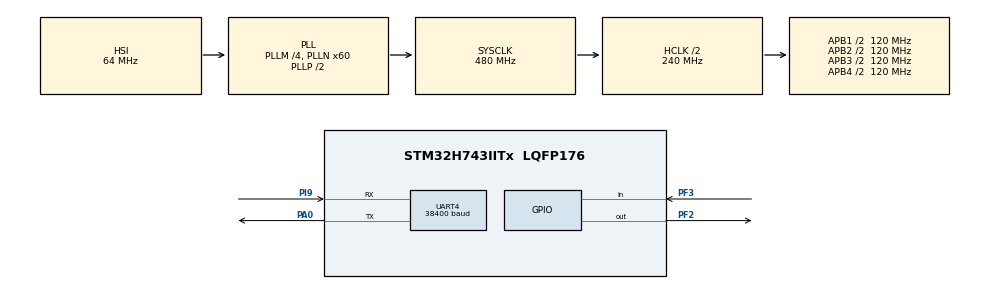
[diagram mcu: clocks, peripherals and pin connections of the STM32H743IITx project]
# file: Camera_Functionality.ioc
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JPEG.JPEG_RGB_FORMAT=JPEG_RGB888
Mcu.Family=STM32H7
Mcu.Name=STM32H743IITx
Mcu.Package=LQFP176
NVIC.PriorityGroup=NVIC_PRIORITYGROUP_4
NVIC.UART4_IRQn=true\:0\:0\:false\:false\:true\:true\:true
PA0.GPIO_Speed=GPIO_SPEED_FREQ_HIGH
PA0.Mode=Asynchronous
PA0.Signal=UART4_TX
PF2.GPIO_Speed=GPIO_SPEED_FREQ_HIGH
PF2.Signal=GPIO_Output
PF3.Signal=GPIO_Input
PI9.GPIO_Speed=GPIO_SPEED_FREQ_HIGH
PI9.Mode=Asynchronous
PI9.Signal=UART4_RX
ProjectManager.HeapSize=0x2000
ProjectManager.StackSize=0x4000
ProjectManager.TargetToolchain=STM32CubeIDE
RCC.ADCFreq_Value=1008000000
RCC.APB1Freq_Value=120000000
RCC.APB2Freq_Value=120000000
RCC.APB3Freq_Value=120000000
RCC.APB4Freq_Value=120000000
RCC.CortexFreq_Value=480000000
RCC.D1PPRE=RCC_APB3_DIV2
RCC.D2PPRE1=RCC_APB1_DIV2
RCC.D2PPRE2=RCC_APB2_DIV2
RCC.D3PPRE=RCC_APB4_DIV2
RCC.DIVM1=4
RCC.DIVM2=4
RCC.DIVM3=12
RCC.DIVN1=60
RCC.DIVN2=126
RCC.DIVQ2=8
RCC.HCLKFreq_Value=240000000
RCC.HPRE=RCC_HCLK_DIV2
RCC.PLL2FRACN=0
RCC.PLL3FRACN=0
RCC.PLLFRACN=0
RCC.SYSCLKFreq_VALUE=480000000
RCC.SYSCLKSource=RCC_SYSCLKSOURCE_PLLCLK
RCC.USBFreq_Value=480000000
UART4.BaudRate=38400
UART4.ClockPrescaler=PRESCALER_DIV1
UART4.FIFOMode=FIFOMODE_ENABLE
UART4.OneBitSampling=UART_ONE_BIT_SAMPLE_DISABLE
UART4.OverSampling=UART_OVERSAMPLING_16
UART4.RXFIFOThreshold=RXFIFO_THRESHOLD_FULL
VP_JPEG_VS_JPEG.Mode=JPEG_Activate
board=custom

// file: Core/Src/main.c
/* USER CODE BEGIN Header */
/**
  ******************************************************************************
  * @file           : main.c
  * @brief          : Main program body
  ******************************************************************************
  * @attention
  *
  * <h2><center>&copy; Copyright (c) 2020 STMicroelectronics.
  * All rights reserved.</center></h2>
  *
  * This software component is licensed by ST under Ultimate Liberty license
  * SLA0044, the "License"; You may not use this file except in compliance with
  * the License. You may obtain a copy of the License at:
  *                             www.st.com/SLA0044
  *
  ******************************************************************************
  */
/* USER CODE END Header */

#include "main.h"

JPEG_HandleTypeDef hjpeg;

UART_HandleTypeDef huart4;

/* USER CODE BEGIN PV */
uint8_t junk[255];

uint8_t img_buf[67200];
/* USER CODE END PV */

void SystemClock_Config(void);
static void MX_GPIO_Init(void);
static void MX_UART4_Init(void);
static void MX_JPEG_Init(void);

/* USER CODE BEGIN 0 */

/*
 * -----------------------------CAMERA COMMAND AND ACK HEX ARRAYS---------------------------
 *
 * Below are commands commonly used for interfacing with the camera, globally defined
 * only because of their ubiquity, all commands begin with 0x56 0x00 and all ACKs or returns
 * begin with 0x76 0x00, behavior after is somewhat variable but often the first five characters
 * are relatively predictable between the two going something like...
 * 		COMMAND:	0x56 0x0 0xBB 0x1 0x0
 * 		ACK:		0x76 0x0 0xBB 0x0 0x0
 *
 * 	For some commands or acknowledgements, the listed values will NOT be what you input/receive because
 * 	they depend on values like the image length, addresses, etc. So make sure that you change those areas
 * 	before using the arrays based off of what you need!
 */

// use for camera set-up
uint8_t CAM_RESET[]							=	{0x56, 0x0, 0x26, 0x0, 0x0};
uint8_t CAM_RESET_ACK[]						=	{0x76, 0x0, 0x26, 0x0, 0x0};

// use for camera resolution settings
uint8_t CAM_RES_640_480[]					=	{0x56, 0x0, 0x31, 0x05, 0x04, 0x01, 0x0, 0x19, 0x00};
uint8_t CAM_RES_320_240[]					=	{0x56, 0x0, 0x31, 0x05, 0x04, 0x01, 0x0, 0x19, 0x11};
uint8_t CAM_RES_160_120[]					=	{0x56, 0x0, 0x31, 0x05, 0x04, 0x01, 0x0, 0x19, 0x22};
uint8_t CAM_RES_ACK[]						=	{0x76, 0x0, 0x31, 0x0, 0x0};

// use to compress the image further than normal, typical value is at 0x36, can be pushed up to 0xFF
// acknowledgement is the same as resolution ack
uint8_t CAM_COMPRESS[]						=	{0x56, 0x0, 0x31, 0x05, 0x01, 0x01, 0x12, 0x04, 0x36};
uint8_t CAM_COMPRESS_ACK[] 					=	{0x76, 0x0, 0x31, 0x0, 0x0};

// use to change camera baud rate, note that you must init your UART again to properly communicate
// default baud rate of camera is 38400 baud
uint8_t CAM_BAUD_9600[]						=	{0x56, 0x0, 0x24, 0x03, 0x01, 0xAE, 0xC8};
uint8_t CAM_BAUD_19200[]					=	{0x56, 0x0, 0x24, 0x03, 0x01, 0x56, 0xE4};
uint8_t CAM_BAUD_38400[]					= 	{0x56, 0x0, 0x24, 0x03, 0x01, 0x2A, 0xF2};
uint8_t CAM_BAUD_57600[]					=	{0x56, 0x0, 0x24, 0x03, 0x01, 0x1C, 0x1C};
uint8_t CAM_BAUD_115200[]					=	{0x56, 0x0, 0x24, 0x03, 0x01, 0x0D, 0xA6};
uint8_t CAM_BAUD_ACK[]						=	{0x76, 0x0, 0x24, 0x0, 0x0};

// use for camera to take a shot
uint8_t CAM_CAPTURE[]						=	{0x56, 0x0, 0x36, 0x1, 0x0};
uint8_t CAM_CAPTURE_ACK[]					= 	{0x76, 0x0, 0x36, 0x0, 0x0};

// use for requesting image length, NOTE: in ACK the final two bytes are not 0xFF but
// are instead the high and low bytes of the length
uint8_t CAM_IMG_LENGTH[]					=	{0x56, 0x0, 0x34, 0x1, 0x0};
uint8_t CAM_IMG_LENGTH_ACK[]				=	{0x76, 0x0, 0x34, 0x0, 0x4, 0x0, 0x0, 0xFF, 0xFF};

/*
 * use these for actually getting the image data, heavy variability here
 *
 * GENERAL JPG NOTES:	all jpgs should start with 0xFF 0xD8 0xFF (unsure still on last 0xFF) and end with 0xFF 0xD9
 *
 * NOTES FOR COMMAND:	the 0xFF 0xFF sequence is actually a start address for the image data, needs to be set to a frame pointer that shifts by the
 * 						image's length
 *
 * 						the 0xEE 0xEE is actually meant to be image length, pulled from the results of the previous set of commands/acks
 *
 * 						the 0x0D can potentially be 0x0A instead, Adafruit uses the latter while another reference sheet uses the former
 *
 * 						finally, the end 0x0 0x0A is actually the "camera delay," it may be variable based off of model but I am unsure and have no other
 * 						models to test on
 *
 *
 * NOTES FOR ACKS: 		listed in two parts here, the first part is the beginning of the image data and the last part is the end and cleanup
 * 						keep in mind the jpg rules! first part ends with 0xFF 0xD8 and second part starts with 0xFF 0xD9, but these are
 * 						actually parts of the jpg and should also be written to something!
 */
uint8_t CAM_READ_IMG[]						=	{0x56, 0x0, 0x32, 0x0C, 0x0, 0x0A, 0x0, 0x0, 0xFF, 0xFF, 0x0, 0x0, 0xEE, 0xEE, 0x0, 0x0A};
uint8_t CAM_READ_IMG_ACK_1[]				=	{0x76, 0x0, 0x32, 0x0, 0x0};
uint8_t CAM_READ_IMG_ACK_2[]				=	{0x76, 0x0, 0x32, 0x0, 0x0};
/* USER CODE END 0 */

int main(void)
{

  /* MCU Configuration--------------------------------------------------------*/

  /* Reset of all peripherals, Initializes the Flash interface and the Systick. */
  HAL_Init();

  /* USER CODE BEGIN Init */

  //Camera_Setup(CAM_RESET);
  /* USER CODE END Init */

  /* Configure the system clock */
  SystemClock_Config();

  /* Initialize all configured peripherals */
  MX_GPIO_Init();
  MX_UART4_Init();
  MX_JPEG_Init();
  /* USER CODE BEGIN 2 */
  printf("%d\n", sizeof(CAM_RESET));
  HAL_GPIO_WritePin(GPIOF, GPIO_PIN_2, GPIO_PIN_SET);

 /* HAL_Delay(100);

  uint32_t tick1 = HAL_GetTick();
  uint32_t count = 0;
  uint8_t* array = (uint8_t*) malloc(sizeof(uint8_t)*160*120);
  uint32_t tick2 = HAL_GetTick();
  printf("Malloc run-time... %lu\n", tick2-tick1);

  uint32_t tick3 = HAL_GetTick();
  // quick and dirty timing test for Shanti
  for (int i = 0; i < 120; i++)
	  for (int j = 0; j < 160; j++) {
		  array[j+i*j] = count/20;
		  count++;
	  }
  uint32_t tick4 = HAL_GetTick();
  printf("Loop run-time... %lu\n", tick4-tick3);

  free(array);
  get_TOF_Data(array);

  uint32_t tick5 = HAL_GetTick();
  printf("Altogether run-time, including free... %lu\n", tick5-tick1);

  */

  img_buf[0] = 0;
  uint8_t test = 0b10101010;
  uint8_t test1 = 200;
  uint8_t rec1[26] = {0, 0, 0, 0, 0, 0, 0, 0, 0, 0, 0, 0, 0, 0, 0, 0, 0, 0, 0, 0, 0, 0, 0, 0, 0, 0};
  uint8_t* rec = rec1;

  //HAL_UART_Receive_IT(&huart4, rec, 5);
  //HAL_UART_Transmit(&huart4, &test, 1, 1000);
  /*send_UART(&huart4, &test, rec, 1, 26);

  for (int i = 0; i < 26; i++)
	  printf("%u\n", rec1[i]);

  send_UART(&huart4, &test1, rec, 1, 26);
  //HAL_UART_Receive_IT(&huart4, rec, 5);
  //HAL_UART_Transmit(&huart4, &test, 1, 1000);

  for (int i = 0; i < 26; i++)
	  printf("%u\n", rec[i]);
  //HAL_UART_Transmit(&huart5, &test, 1, 1000);
*/

  // initialize camera before anything else with desired resolution, amount of compression (0x0 to 0xFF), and baudrate
  Camera_Initialize(1, 0xFF, 115200);
  HAL_Delay(10);

  uint16_t frameptr = 0;

  HAL_StatusTypeDef result = 255;

  /* USER CODE END 2 */

  /* Infinite loop */
  /* USER CODE BEGIN WHILE */
  while (1)
  {
  	  printf("Beginning while loop.\n");
  	  /*
	   * For now, we assume that all communication works out.
	   * There is no ACK checks for now, simple one would be to
	   * check if the first element is 0x76 as all ACKs involve
	   * that.
	   */

	  // get TOF distance values, 7 for the 7 sensors on the board
	  uint8_t dist_vals[7];
	  get_TOF_Data(dist_vals);

	  /*
	   * Begin process of extracting image, then processing image.
	   *
	   * Many of the below functions have what should be final code, except
	   * for the image processing functions as those are still waiting for
	   * OpenMV adapted collateral.
	   *
	   * Some ACK checks could be added to verify information, but otherwise the
	   * flow of the below code should be mostly finalized.
	   */

	  HAL_Delay(10);
	  printf("Taking snapshot...\n");
	  uint8_t snapshot_ack[5];
	  uint8_t *snapshot_ack1 = snapshot_ack;
	  Camera_Snapshot(snapshot_ack1, sizeof(snapshot_ack));

	  if (snapshot_ack[0] == 0x76)
		  printf("Ack for snapshot received.\n");
	  else
		  printf("No ack received for snapshot.\n");

	  printf("Getting image length...\n");
	  uint8_t length_ack[9];
	  Camera_Get_IMG_Length(length_ack, sizeof(length_ack));

	  if (length_ack[0] == 0x76)
		  printf("Ack for image length received.\n");
	  else
		  printf("No ack received for image length.\n");

	  // indices 7 and 8 of the length_ack should have actual values
	  uint16_t img_length = (((uint16_t) length_ack[7]) << 8) + (uint16_t) length_ack[8];
	  printf("Found image length: %lu\n", img_length);

	  //image buffer
	  uint8_t img_buf_and_ack[10+img_length];

	  uint32_t ticktransfer1 = HAL_GetTick();

	  printf("Getting image...\n");
	  Camera_Get_IMG(img_buf_and_ack, (10+img_length), length_ack[7], length_ack[8], (uint8_t) (frameptr >> 8), (uint8_t) frameptr);

	  uint32_t ticktransfer2 = HAL_GetTick();

	  printf("Image transfer time: %lu\n", ticktransfer2 - ticktransfer1);

	  // extremely important, do not forget to increment your frameptr by the number of bytes you just received
	  frameptr += img_length;
	  uint8_t* jpeg_img_buf = img_buf_and_ack;
	  jpeg_img_buf += 5;

	  result = HAL_JPEG_Decode(&hjpeg, jpeg_img_buf, (uint32_t) img_length, img_buf, 67200, 3000);

	  uint8_t* buff_check = img_buf;
	  buff_check++;
	  buff_check++;
	  buff_check++;
	  buff_check++;
	  buff_check++;

	  uint32_t tickj = HAL_GetTick();

	  if (result == HAL_OK) {
		  printf("JPEG conversion finished successfully.\n");

		  for (uint64_t i = 0; i < 140; i++) {
			  printf("{%d, %d, %d} ", img_buf[31350+3*i], img_buf[31350+3*i+1], img_buf[31350+3*i+2]);
		  }
		  printf("\n");
	  }
	  else
		  printf("JPEG conversion failed.\n");

	  uint32_t tickj2 = HAL_GetTick();
	  printf("JPEG time elapsed: %lu\n", tickj2-tickj);

	  // create image object for easy access to parameters, copy over jpg img data
	  /*image_t* cam_img = (image_t*) malloc(sizeof(image_t));
	  cam_img->w = 320;
	  cam_img->h = 240;
	  cam_img->bpp = 3;
	  cam_img->pixels = (uint8_t*) malloc(img_length*sizeof(uint8_t));
	  for (int i = 0; i < img_length; i++)
		  cam_img->pixels[i] = img_buf_and_ack[5+i];*/

	  printf("\n\nLOOP COMPLETED\n\n");
	  //printf("End of while loop reached, deleting and then entering delay before starting again...");

	  /*for (int i = 0; i < 2; i++) {
		  HAL_Delay(1000);
		  printf(".");
	  }
	  printf("\n");*/

    /* USER CODE END WHILE */

  }
}

void SystemClock_Config(void)
{
  RCC_OscInitTypeDef RCC_OscInitStruct = {0};
  RCC_ClkInitTypeDef RCC_ClkInitStruct = {0};
  RCC_PeriphCLKInitTypeDef PeriphClkInitStruct = {0};

  /** Supply configuration update enable
  */
  HAL_PWREx_ConfigSupply(PWR_LDO_SUPPLY);
  /** Configure the main internal regulator output voltage
  */
  __HAL_PWR_VOLTAGESCALING_CONFIG(PWR_REGULATOR_VOLTAGE_SCALE0);

  while(!__HAL_PWR_GET_FLAG(PWR_FLAG_VOSRDY)) {}
  /** Initializes the CPU, AHB and APB busses clocks
  */
  RCC_OscInitStruct.OscillatorType = RCC_OSCILLATORTYPE_HSI;
  RCC_OscInitStruct.HSIState = RCC_HSI_DIV1;
  RCC_OscInitStruct.HSICalibrationValue = RCC_HSICALIBRATION_DEFAULT;
  RCC_OscInitStruct.PLL.PLLState = RCC_PLL_ON;
  RCC_OscInitStruct.PLL.PLLSource = RCC_PLLSOURCE_HSI;
  RCC_OscInitStruct.PLL.PLLM = 4;
  RCC_OscInitStruct.PLL.PLLN = 60;
  RCC_OscInitStruct.PLL.PLLP = 2;
  RCC_OscInitStruct.PLL.PLLQ = 2;
  RCC_OscInitStruct.PLL.PLLR = 2;
  RCC_OscInitStruct.PLL.PLLRGE = RCC_PLL1VCIRANGE_3;
  RCC_OscInitStruct.PLL.PLLVCOSEL = RCC_PLL1VCOWIDE;
  RCC_OscInitStruct.PLL.PLLFRACN = 0;
  if (HAL_RCC_OscConfig(&RCC_OscInitStruct) != HAL_OK)
  {
    Error_Handler();
  }
  /** Initializes the CPU, AHB and APB busses clocks
  */
  RCC_ClkInitStruct.ClockType = RCC_CLOCKTYPE_HCLK|RCC_CLOCKTYPE_SYSCLK
                              |RCC_CLOCKTYPE_PCLK1|RCC_CLOCKTYPE_PCLK2
                              |RCC_CLOCKTYPE_D3PCLK1|RCC_CLOCKTYPE_D1PCLK1;
  RCC_ClkInitStruct.SYSCLKSource = RCC_SYSCLKSOURCE_PLLCLK;
  RCC_ClkInitStruct.SYSCLKDivider = RCC_SYSCLK_DIV1;
  RCC_ClkInitStruct.AHBCLKDivider = RCC_HCLK_DIV2;
  RCC_ClkInitStruct.APB3CLKDivider = RCC_APB3_DIV2;
  RCC_ClkInitStruct.APB1CLKDivider = RCC_APB1_DIV2;
  RCC_ClkInitStruct.APB2CLKDivider = RCC_APB2_DIV2;
  RCC_ClkInitStruct.APB4CLKDivider = RCC_APB4_DIV2;

  if (HAL_RCC_ClockConfig(&RCC_ClkInitStruct, FLASH_LATENCY_4) != HAL_OK)
  {
    Error_Handler();
  }
  PeriphClkInitStruct.PeriphClockSelection = RCC_PERIPHCLK_UART4;
  PeriphClkInitStruct.Usart234578ClockSelection = RCC_USART234578CLKSOURCE_D2PCLK1;
  if (HAL_RCCEx_PeriphCLKConfig(&PeriphClkInitStruct) != HAL_OK)
  {
    Error_Handler();
  }
}

static void MX_JPEG_Init(void)
{

  hjpeg.Instance = JPEG;
  if (HAL_JPEG_Init(&hjpeg) != HAL_OK)
  {
    Error_Handler();
  }

}

static void MX_UART4_Init(void)
{

  huart4.Instance = UART4;
  huart4.Init.BaudRate = 38400;
  huart4.Init.WordLength = UART_WORDLENGTH_8B;
  huart4.Init.StopBits = UART_STOPBITS_1;
  huart4.Init.Parity = UART_PARITY_NONE;
  huart4.Init.Mode = UART_MODE_TX_RX;
  huart4.Init.HwFlowCtl = UART_HWCONTROL_NONE;
  huart4.Init.OverSampling = UART_OVERSAMPLING_16;
  huart4.Init.OneBitSampling = UART_ONE_BIT_SAMPLE_DISABLE;
  huart4.Init.ClockPrescaler = UART_PRESCALER_DIV1;
  huart4.AdvancedInit.AdvFeatureInit = UART_ADVFEATURE_NO_INIT;
  if (HAL_UART_Init(&huart4) != HAL_OK)
  {
    Error_Handler();
  }
  if (HAL_UARTEx_SetTxFifoThreshold(&huart4, UART_TXFIFO_THRESHOLD_1_8) != HAL_OK)
  {
    Error_Handler();
  }
  if (HAL_UARTEx_SetRxFifoThreshold(&huart4, UART_RXFIFO_THRESHOLD_8_8) != HAL_OK)
  {
    Error_Handler();
  }
  if (HAL_UARTEx_EnableFifoMode(&huart4) != HAL_OK)
  {
    Error_Handler();
  }

}

static void MX_GPIO_Init(void)
{
  GPIO_InitTypeDef GPIO_InitStruct = {0};

  /* GPIO Ports Clock Enable */
  __HAL_RCC_GPIOI_CLK_ENABLE();
  __HAL_RCC_GPIOF_CLK_ENABLE();
  __HAL_RCC_GPIOA_CLK_ENABLE();

  /*Configure GPIO pin Output Level */
  HAL_GPIO_WritePin(GPIOF, GPIO_PIN_2, GPIO_PIN_RESET);

  /*Configure GPIO pin : PF2 */
  GPIO_InitStruct.Pin = GPIO_PIN_2;
  GPIO_InitStruct.Mode = GPIO_MODE_OUTPUT_PP;
  GPIO_InitStruct.Pull = GPIO_NOPULL;
  GPIO_InitStruct.Speed = GPIO_SPEED_FREQ_HIGH;
  HAL_GPIO_Init(GPIOF, &GPIO_InitStruct);

  /*Configure GPIO pin : PF3 */
  GPIO_InitStruct.Pin = GPIO_PIN_3;
  GPIO_InitStruct.Mode = GPIO_MODE_INPUT;
  GPIO_InitStruct.Pull = GPIO_NOPULL;
  HAL_GPIO_Init(GPIOF, &GPIO_InitStruct);

}

/* USER CODE BEGIN 4 */

// required set-up process for the camera to function, according to documentation
void Camera_Reset(uint8_t* rec, uint8_t len_rec)
{
	printf("Size of receiving buffer: %d\n", len_rec);
	HAL_Delay(2500);	//2500 ms delay
	send_UART(&huart4, CAM_RESET, rec, sizeof(CAM_RESET), len_rec);

	for (int i = 0; i < len_rec; i++) {
		printf("%d ", rec[i]);
	}
	printf("\n");

	HAL_Delay(1000);
}

// abstracted function for general USART exchange, note that size of rec must be known beforehand for this to work
bool send_UART(UART_HandleTypeDef* huart, uint8_t* comm, uint8_t* rec, uint8_t len_comm, uint16_t len_rec)
{
	HAL_StatusTypeDef res = 0;
	res = HAL_UART_Receive(&huart4, junk, 255, 2);
	/*for (int i = 0; i < len_rec; i++)
			printf("%d ", rec[i]);
	printf("\n");*/
	rec[0] = 255;
	rec[1] = 10;
	rec[2] = 30;
	rec[3] = 40;
	rec[4] = 50;

	uint32_t tick3 = HAL_GetTick();

	// fastest tx operation?
	huart->TxXferCount = len_comm;
	huart->TxXferSize = len_comm;
	while (huart->TxXferCount > 0U)
	    {
	      //ensure that Tx operations are finished before we continue
	      if (UART_WaitOnFlagUntilTimeout(huart, UART_FLAG_TXE, RESET, tick3, 1000) != HAL_OK)
	      {
	        return false;
	      }

	      huart->Instance->TDR = (uint8_t)(*comm & 0xFFU); // what is the purpose of the & operation if the mask is just 0xFF
	      comm++;
	      huart->TxXferCount--;
	    }

	// fastest rx operation, could make slightly faster on flag check
	huart->RxXferCount = len_rec;
	huart->RxXferSize  = len_rec;
	uint8_t flag = 0;
	uint8_t* pData = rec;
	uint32_t tickstart = HAL_GetTick();
	UART_MASK_COMPUTATION(huart);
	while (huart->RxXferCount > 0U)
	    {
	       if (UART_WaitOnFlagUntilTimeout(huart, UART_FLAG_RXNE, RESET, tickstart, 5000) != HAL_OK)
	       {
	    	 printf("\n\nBROKE LOOP ON RX, TIMEOUT AT %d ITERATION\n\n", len_rec - huart->RxXferCount);
	         return HAL_TIMEOUT;
	       }

	       /*while((__HAL_UART_GET_FLAG(huart, UART_FLAG_RXNE) ? SET : RESET) == RESET) {
	    	   uint32_t tick_curr = HAL_GetTick();
	    	   if (tick_curr - tick3 > 1000) {
	    		   printf("Failed at %lu iteration.\n", len_rec-huart->RxXferCount);
	    		   flag = 1;
	    		   break;
	    	   }
	       } // ? operator is a conditional ternary, may just be fast

	       if (flag == 1) {
	    	   break;
	       }*/

	       *pData = (uint8_t)(huart->Instance->RDR & (uint8_t) huart->Mask);	// note that UART mask here is variable in HAL drivers, often 255 so that is default
	       pData++;

	       huart->RxXferCount--;
	       //__HAL_UART_CLEAR_FLAG(&huart4, UART_FLAG_RXNE);
	    }

	res = HAL_UART_Receive(&huart4, junk, 255, 2);
}

//orders camera to take snapshot
void Camera_Snapshot(uint8_t* rec, uint8_t len_rec) {
	send_UART(&huart4, CAM_CAPTURE, rec, sizeof(CAM_CAPTURE), len_rec);

	for (int i = 0; i < len_rec; i++)
		printf("%d ", rec[i]);
	printf("\n");

	HAL_Delay(1);
}

//returns 2-value array of characters, first is high part of 16-bit length, second is low part
void Camera_Get_IMG_Length(uint8_t* rec, uint8_t len_rec) {
	send_UART(&huart4, CAM_IMG_LENGTH, rec, sizeof(CAM_IMG_LENGTH), len_rec);

	for (int i = 0; i < len_rec; i++)
			printf("%d ", rec[i]);
		printf("\n");
}

//records the image into a statically allocated array of the given
void Camera_Get_IMG(uint8_t* rec, uint16_t len_rec, uint8_t lengthH, uint8_t lengthL, uint8_t memH, uint8_t memL) {

	CAM_READ_IMG[12] = lengthH;
	CAM_READ_IMG[13] = lengthL;

	CAM_READ_IMG[8] = memH;
	CAM_READ_IMG[9] = memL;

	send_UART(&huart4, CAM_READ_IMG, rec, sizeof(CAM_READ_IMG), len_rec);

	/*printf("IMAGE:\n\n");
	for (int i = 0; i < len_rec; i++)
			printf("%d ", rec[i]);
		printf("\n");*/

}

//sets the resolution of the image, full resolution likely not needed for crude processing
//0x00 is default for 640x480, to get 320x240 must manually send command, replace 0x00 with 0x11
// resolution = 6 sends 640x480, resolution = 3 sends 320x240, resolution = 1 sends 160x120
void Camera_Set_Res(uint8_t* rec, uint8_t len_rec, uint8_t res) {

	// for 640x480
	if (res == 6)
		send_UART(&huart4, CAM_RES_640_480, rec, sizeof(CAM_RES_640_480), len_rec);

	// for 320x240
	else if (res == 3)
		send_UART(&huart4, CAM_RES_320_240, rec, sizeof(CAM_RES_320_240), len_rec);

	// for 160x120
	else if (res == 1)
		send_UART(&huart4, CAM_RES_160_120, rec, sizeof(CAM_RES_160_120), len_rec);

	for (int i = 0; i < len_rec; i++)
			printf("%d ", rec[i]);
		printf("\n");
}

// function to ease customization of compression, higher compression is vastly preferable
void Camera_Set_Compress(uint8_t* rec, uint8_t len_rec, uint8_t comp) {
	CAM_COMPRESS[8] = comp;

	send_UART(&huart4, CAM_COMPRESS, rec, sizeof(CAM_COMPRESS), len_rec);

	for (int i = 0; i < len_rec; i++)
		printf("%d ", rec[i]);
	printf("\n");
}

// function to set the baud rate, pass the baud rate directly for check
void Camera_Set_Baud(uint8_t* rec, uint8_t len_rec, uint32_t baud) {

	if (baud == 9600) {
		send_UART(&huart4, CAM_BAUD_9600, rec, sizeof(CAM_BAUD_9600), len_rec);
		HAL_UART_DeInit(&huart4);
		UART_Init_Baud(&huart4, UART4, 9600);
	}

	else if (baud == 19200) {
		send_UART(&huart4, CAM_BAUD_19200, rec, sizeof(CAM_BAUD_19200), len_rec);
		HAL_UART_DeInit(&huart4);
		UART_Init_Baud(&huart4, UART4, 19200);
	}

	else if (baud == 38400) {
		send_UART(&huart4, CAM_BAUD_38400, rec, sizeof(CAM_BAUD_38400), len_rec);
		HAL_UART_DeInit(&huart4);
		UART_Init_Baud(&huart4, UART4, 38400);
	}

	else if (baud == 57600) {
		send_UART(&huart4, CAM_BAUD_57600, rec, sizeof(CAM_BAUD_57600), len_rec);
		HAL_UART_DeInit(&huart4);
		UART_Init_Baud(&huart4, UART4, 57600);
	}

	else if (baud == 115200) {
		send_UART(&huart4, CAM_BAUD_115200, rec, sizeof(CAM_BAUD_115200), len_rec);
		HAL_UART_DeInit(&huart4);
		UART_Init_Baud(&huart4, UART4, 115200);
	}

	for (int i = 0; i < len_rec; i++)
		printf("%d ", rec[i]);
	printf("\n");
}

void Camera_Initialize(uint8_t resolution, uint8_t compression, uint32_t baud) {

	/*
	   * Begin VC0706 CMOS Camera setup
	   *
	   *  - Start with delay of 2.5s before reset, reset, then delay of 1s after to allow reset to finish
	   *  - Set image resolution, preferably low so that data transfer and image analysis is fast
	   *  - Set compressibility, preferably fast so that data transfer is quick but may cost in terms of accuracy?
	   *  - Baudrate is also variable, we could set it to 115200 baud for faster data transfer but if the camera resets, it will go back to 38400 baud
	   *
	   *  All of the above steps should really only be handled one time, at system initialization. If we are disconnected from power, however,
	   *  the camera is supposed to be reset in its normal flow. This is likely not be necessary, more testing is needed.
	   */
	  uint8_t reset_ack[5];
	  reset_ack[0] = 0;
	  uint8_t* reset_ack1 = reset_ack;

	  Camera_Reset(reset_ack1, sizeof(reset_ack));

	  if (reset_ack[0] == 0x76)
		  printf("Ack for reset received.\n");
	  else
	  	  printf("No ack received for reset.\n");

	  uint8_t resol_ack[5];
	  uint8_t* resol_ack1 = resol_ack;
	  Camera_Set_Res(resol_ack1, sizeof(resol_ack), resolution);

	  if (resol_ack[0] == 0x76)
		  printf("Ack for resolution received.\n");
	  else
		  printf("No ack received for resolution.\n");

	  uint8_t compress_ack[5];
	  uint8_t* compress_ack1 = compress_ack;
	  Camera_Set_Compress(compress_ack1, sizeof(compress_ack), compression);

	  if (compress_ack[0] == 0x76)
		  printf("Ack for compression received.\n");
	  else
		  printf("No ack received for resolution.\n");

	  uint8_t baud_ack[5];
	  uint8_t* baud_ack1 = baud_ack;
	  Camera_Set_Baud(baud_ack1, sizeof(baud_ack), baud);

	  if (baud_ack[0] == 0x76)
		  printf("Ack for baudrate received.\n");
	  else
		  printf("No ack received for baudrate.\n");

}

// function used purely to properly DeInit and then Init with a baud rate aside from our CubeMX generation
// by default, pass huart4 and UART4 for huart and name
void UART_Init_Baud(UART_HandleTypeDef* huart, USART_TypeDef* name, uint32_t baud) {

  huart->Instance = name;
  huart->Init.BaudRate = baud;
  huart->Init.WordLength = UART_WORDLENGTH_8B;
  huart->Init.StopBits = UART_STOPBITS_1;
  huart->Init.Parity = UART_PARITY_NONE;
  huart->Init.Mode = UART_MODE_TX_RX;
  huart->Init.HwFlowCtl = UART_HWCONTROL_NONE;
  huart->Init.OverSampling = UART_OVERSAMPLING_16;
  huart->Init.OneBitSampling = UART_ONE_BIT_SAMPLE_DISABLE;
  huart->Init.ClockPrescaler = UART_PRESCALER_DIV1;
  huart->AdvancedInit.AdvFeatureInit = UART_ADVFEATURE_NO_INIT;
  if (HAL_UART_Init(huart) != HAL_OK)
  {
    Error_Handler();
  }
  if (HAL_UARTEx_SetTxFifoThreshold(huart, UART_TXFIFO_THRESHOLD_1_8) != HAL_OK)
  {
    Error_Handler();
  }
  if (HAL_UARTEx_SetRxFifoThreshold(huart, UART_RXFIFO_THRESHOLD_8_8) != HAL_OK)
  {
    Error_Handler();
  }
  if (HAL_UARTEx_EnableFifoMode(huart) != HAL_OK)
  {
    Error_Handler();
  }

}

// dummy functions to be used as interfaces to other blocks
void get_TOF_Data(uint8_t* buf) {

}

// attempt at dealing with UART timing issues
void HAL_UART_RxCpltCallback(UART_HandleTypeDef * huart) {
	//printf("Interrupt triggered.");

}

/*
 * _write is built for an override of stdio's access to the default weak _write function,
 * used for printf, this implementation with Instrument Trace Macrocell (ITM) writing enables
 * console outputs as long as the Serial Wire Viewer (SWV) configurations are correct
 *
 * NOTES FOR SWV CONFIG:
 * 		- enable SWV ITM Data Console in Windows
 * 		- enable whichever ports necessary, can leave memory as default, check console settings here
 * 		- ensure that debug settings are enabled as such that SWV is enabled, probe is GDB server, and
 * 			clock matches the SYSCLK, not HCLK
 */
int _write(int file, char* out, int len) {
	for (int i = 0; i < len; i++) {
		ITM_SendChar(out[i]);
	}
	return len;
}

/*
 * Due to issues with the speed of HAL_UART functions, this is a substitute that strips away much of the safety measures that the HAL drivers
 * implement. It is extremely minimal. The variables passed are still in line with what a typical UART HAL driver might expect.
 *
 * pdata8bits is used explicitly for instances where 8 bit UART is expected. Any parity UART would require a rewrite of this function.
 * One could simply expand it with pdata16bits as a uint16_t*
 */
HAL_StatusTypeDef UART_Fast_Transmit(UART_HandleTypeDef* huart, uint8_t* pData, uint16_t Size, uint32_t Timeout) {

	uint32_t tickstart;
	tickstart = HAL_GetTick();
	uint8_t* pdata8bits = pData;

    huart->TxXferSize  = Size;
    huart->TxXferCount = Size;

    while (huart->TxXferCount > 0U)
    {
      //ensure that Tx operations are finished before we continue
      if (UART_WaitOnFlagUntilTimeout(huart, UART_FLAG_TXE, RESET, tickstart, Timeout) != HAL_OK)
      {
        return HAL_TIMEOUT;
      }

      huart->Instance->TDR = (uint8_t)(*pdata8bits & 0xFFU); // what is the purpose of the & operation if the mask is just 0xFF
      pdata8bits++;
      huart->TxXferCount--;
    }

	return HAL_OK;
}

HAL_StatusTypeDef UART_Fast_Receive(UART_HandleTypeDef *huart, uint8_t *pData, uint16_t Size, uint32_t Timeout) {

	uint32_t tickstart;
	tickstart = HAL_GetTick();
	uint8_t* pdata8bits = pData;

    huart->RxXferSize  = Size;
    huart->RxXferCount = Size;

    while (huart->RxXferCount > 0U)
    {
       /*if (UART_WaitOnFlagUntilTimeout(huart, UART_FLAG_RXNE, RESET, tickstart, Timeout) != HAL_OK)
       {
         return HAL_TIMEOUT;
       }*/

       while((__HAL_UART_GET_FLAG(huart, UART_FLAG_RXNE) ? SET : RESET) == RESET) {} // ? operator is a conditional ternary, may just be fast

       *pdata8bits = (uint8_t)(huart->Instance->RDR & 0xFFU);	// note that UART mask here is variable in HAL drivers, often 255 so that is default
       pdata8bits++;

       huart->RxXferCount--;
    }

    return HAL_OK;

}
/* USER CODE END 4 */

void Error_Handler(void)
{
}

/************************ (C) COPYRIGHT STMicroelectronics *****END OF FILE****/
